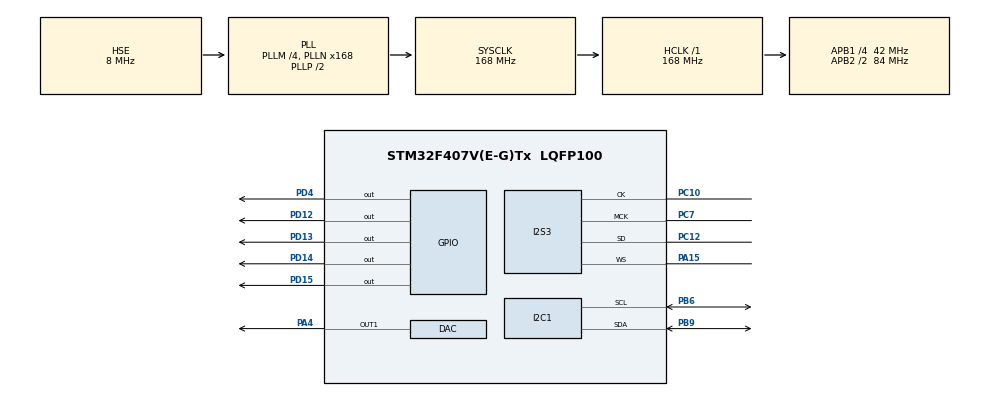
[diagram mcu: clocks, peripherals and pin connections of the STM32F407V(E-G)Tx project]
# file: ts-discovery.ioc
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Dma.Request0=SPI3_TX
Dma.SPI3_TX.0.Direction=DMA_MEMORY_TO_PERIPH
Dma.SPI3_TX.0.FIFOMode=DMA_FIFOMODE_ENABLE
Dma.SPI3_TX.0.FIFOThreshold=DMA_FIFO_THRESHOLD_FULL
Dma.SPI3_TX.0.Instance=DMA1_Stream5
Dma.SPI3_TX.0.MemBurst=DMA_MBURST_SINGLE
Dma.SPI3_TX.0.MemDataAlignment=DMA_MDATAALIGN_HALFWORD
Dma.SPI3_TX.0.MemInc=DMA_MINC_ENABLE
Dma.SPI3_TX.0.Mode=DMA_CIRCULAR
Dma.SPI3_TX.0.PeriphBurst=DMA_PBURST_SINGLE
Dma.SPI3_TX.0.PeriphDataAlignment=DMA_PDATAALIGN_HALFWORD
Dma.SPI3_TX.0.PeriphInc=DMA_PINC_DISABLE
Dma.SPI3_TX.0.Priority=DMA_PRIORITY_LOW
I2S3.AudioFreq=I2S_AUDIOFREQ_48K
I2S3.ErrorAudioFreq=1.72 %
I2S3.FullDuplexMode=I2S_FULLDUPLEXMODE_DISABLE
I2S3.Instance=SPI$Index
I2S3.RealAudioFreq=48.828 KHz
I2S3.VirtualMode=I2S_MODE_MASTER
Mcu.Family=STM32F4
Mcu.Name=STM32F407V(E-G)Tx
Mcu.Package=LQFP100
NVIC.DMA1_Stream5_IRQn=true\:0\:0\:false\:false\:true\:false\:true
NVIC.PriorityGroup=NVIC_PRIORITYGROUP_0
NVIC.TIM1_UP_TIM10_IRQn=true\:0\:0\:false\:false\:true\:false\:true
NVIC.TIM2_IRQn=true\:0\:0\:false\:false\:true\:true\:true
NVIC.TimeBase=TIM1_UP_TIM10_IRQn
NVIC.TimeBaseIP=TIM1
PA15.Mode=Half_Duplex_Master
PA15.Signal=I2S3_WS
PA4.Signal=COMP_DAC1_group
PB6.Mode=I2C
PB6.Signal=I2C1_SCL
PB9.Mode=I2C
PB9.Signal=I2C1_SDA
PC10.Mode=Half_Duplex_Master
PC10.Signal=I2S3_CK
PC12.Mode=Half_Duplex_Master
PC12.Signal=I2S3_SD
PC7.Mode=Master_Clock_Activated
PC7.Signal=I2S3_MCK
PD12.Signal=GPIO_Output
PD13.Signal=GPIO_Output
PD14.Signal=GPIO_Output
PD15.Signal=GPIO_Output
PD4.Signal=GPIO_Output
PH0-OSC_IN.Mode=HSE-External-Oscillator
PH0-OSC_IN.Signal=RCC_OSC_IN
PH1-OSC_OUT.Mode=HSE-External-Oscillator
PH1-OSC_OUT.Signal=RCC_OSC_OUT
ProjectManager.HeapSize=0x200
ProjectManager.StackSize=0x400
ProjectManager.TargetToolchain=STM32CubeIDE
RCC.48MHZClocksFreq_Value=48000000
RCC.AHBFreq_Value=168000000
RCC.APB1CLKDivider=RCC_HCLK_DIV4
RCC.APB1Freq_Value=42000000
RCC.APB1TimFreq_Value=84000000
RCC.APB2CLKDivider=RCC_HCLK_DIV2
RCC.APB2Freq_Value=84000000
RCC.APB2TimFreq_Value=168000000
RCC.CortexFreq_Value=168000000
RCC.HCLKFreq_Value=168000000
RCC.HSE_VALUE=8000000
RCC.HSI_VALUE=16000000
RCC.LSE_VALUE=32768
RCC.PLLI2SN=50
RCC.PLLM=4
RCC.PLLN=168
RCC.PLLQ=7
RCC.PLLSourceVirtual=RCC_PLLSOURCE_HSE
RCC.SYSCLKFreq_VALUE=168000000
RCC.SYSCLKSource=RCC_SYSCLKSOURCE_PLLCLK
RCC.VCOOutputFreq_Value=336000000
SH.COMP_DAC1_group.0=DAC_OUT1,DAC_OUT1
TIM2.Period=20-1
TIM2.Prescaler=84-1
VP_SYS_VS_tim1.Mode=TIM1
VP_TIM2_VS_ClockSourceINT.Mode=Internal
board=STM32F407G-DISC1

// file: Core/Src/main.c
/* USER CODE BEGIN Header */
/**
  ******************************************************************************
  * @file           : main.c
  * @brief          : Main program body
  ******************************************************************************
  * @attention
  *
  * <h2><center>&copy; Copyright (c) 2021 STMicroelectronics.
  * All rights reserved.</center></h2>
  *
  * This software component is licensed by ST under BSD 3-Clause license,
  * the "License"; You may not use this file except in compliance with the
  * License. You may obtain a copy of the License at:
  *                        opensource.org/licenses/BSD-3-Clause
  *
  ******************************************************************************
  */
/* USER CODE END Header */
#include "main.h"

/* USER CODE BEGIN Includes */
#include "CS43L22.h"
#include "math.h"
/* USER CODE END Includes */

DAC_HandleTypeDef hdac;

I2C_HandleTypeDef hi2c1;

I2S_HandleTypeDef hi2s3;
DMA_HandleTypeDef hdma_spi3_tx;

TIM_HandleTypeDef htim2;

/* USER CODE BEGIN PV */
#define PI 3.14159f

// sample rate and output freq
#define F_SAMPLE 50000.0f
#define TRI_WAVE_STEPS 9
/* USER CODE END PV */

void SystemClock_Config(void);
static void MX_GPIO_Init(void);
static void MX_DMA_Init(void);
static void MX_DAC_Init(void);
static void MX_I2C1_Init(void);
static void MX_I2S3_Init(void);
static void MX_TIM2_Init(void);

/* USER CODE BEGIN 0 */
float frequency_out = 0.0f;
float wave_val;
uint32_t wave_index;
float sample_dt;
uint16_t sample_N;
uint16_t i_t;

uint32_t dacValue;
int16_t I2S_dummy[4];
float tri_wave[TRI_WAVE_STEPS] = { 0.0f, 0.125f, 0.25f, 0.375f, 0.5f, 0.625f, 0.75f, 0.875f, 1.0f };
float ticks_per_step;
/* USER CODE END 0 */

int main(void)
{
  /* USER CODE BEGIN 1 */
  frequency_out = 440.0f;
  sample_dt = frequency_out / F_SAMPLE;
  sample_N = F_SAMPLE / frequency_out;
  ticks_per_step = sample_N / (float) TRI_WAVE_STEPS;
  /* USER CODE END 1 */

  /* MCU Configuration--------------------------------------------------------*/

  /* Reset of all peripherals, Initializes the Flash interface and the Systick. */
  HAL_Init();

  /* Configure the system clock */
  SystemClock_Config();

  /* Initialize all configured peripherals */
  MX_GPIO_Init();
  MX_DMA_Init();
  MX_DAC_Init();
  MX_I2C1_Init();
  MX_I2S3_Init();
  MX_TIM2_Init();
  /* USER CODE BEGIN 2 */
  CS43_Init(hi2c1, CS43_MODE_ANALOG);
  CS43_SetVolume(15);
  CS43_Enable_RightLeft(CS43_RIGHT_LEFT);
  CS43_Start();

  HAL_I2S_Transmit_DMA(&hi2s3, (uint16_t *)I2S_dummy, 4);

  // Start DAC
  HAL_DAC_Start(&hdac, DAC_CHANNEL_1);

  // Start TIM2
  HAL_TIM_Base_Start_IT(&htim2);
  /* USER CODE END 2 */

  /* Infinite loop */
  while (1)
  {

  }
}

void SystemClock_Config(void)
{
  RCC_OscInitTypeDef RCC_OscInitStruct = {0};
  RCC_ClkInitTypeDef RCC_ClkInitStruct = {0};

  /** Configure the main internal regulator output voltage
  */
  __HAL_RCC_PWR_CLK_ENABLE();
  __HAL_PWR_VOLTAGESCALING_CONFIG(PWR_REGULATOR_VOLTAGE_SCALE1);
  /** Initializes the RCC Oscillators according to the specified parameters
  * in the RCC_OscInitTypeDef structure.
  */
  RCC_OscInitStruct.OscillatorType = RCC_OSCILLATORTYPE_HSE;
  RCC_OscInitStruct.HSEState = RCC_HSE_ON;
  RCC_OscInitStruct.PLL.PLLState = RCC_PLL_ON;
  RCC_OscInitStruct.PLL.PLLSource = RCC_PLLSOURCE_HSE;
  RCC_OscInitStruct.PLL.PLLM = 4;
  RCC_OscInitStruct.PLL.PLLN = 168;
  RCC_OscInitStruct.PLL.PLLP = RCC_PLLP_DIV2;
  RCC_OscInitStruct.PLL.PLLQ = 7;
  if (HAL_RCC_OscConfig(&RCC_OscInitStruct) != HAL_OK)
  {
    Error_Handler();
  }
  /** Initializes the CPU, AHB and APB buses clocks
  */
  RCC_ClkInitStruct.ClockType = RCC_CLOCKTYPE_HCLK|RCC_CLOCKTYPE_SYSCLK
                              |RCC_CLOCKTYPE_PCLK1|RCC_CLOCKTYPE_PCLK2;
  RCC_ClkInitStruct.SYSCLKSource = RCC_SYSCLKSOURCE_PLLCLK;
  RCC_ClkInitStruct.AHBCLKDivider = RCC_SYSCLK_DIV1;
  RCC_ClkInitStruct.APB1CLKDivider = RCC_HCLK_DIV4;
  RCC_ClkInitStruct.APB2CLKDivider = RCC_HCLK_DIV2;

  if (HAL_RCC_ClockConfig(&RCC_ClkInitStruct, FLASH_LATENCY_5) != HAL_OK)
  {
    Error_Handler();
  }
}

static void MX_DAC_Init(void)
{

  DAC_ChannelConfTypeDef sConfig = {0};

  /** DAC Initialization
  */
  hdac.Instance = DAC;
  if (HAL_DAC_Init(&hdac) != HAL_OK)
  {
    Error_Handler();
  }
  /** DAC channel OUT1 config
  */
  sConfig.DAC_Trigger = DAC_TRIGGER_NONE;
  sConfig.DAC_OutputBuffer = DAC_OUTPUTBUFFER_ENABLE;
  if (HAL_DAC_ConfigChannel(&hdac, &sConfig, DAC_CHANNEL_1) != HAL_OK)
  {
    Error_Handler();
  }

}

static void MX_I2C1_Init(void)
{

  hi2c1.Instance = I2C1;
  hi2c1.Init.ClockSpeed = 100000;
  hi2c1.Init.DutyCycle = I2C_DUTYCYCLE_2;
  hi2c1.Init.OwnAddress1 = 0;
  hi2c1.Init.AddressingMode = I2C_ADDRESSINGMODE_7BIT;
  hi2c1.Init.DualAddressMode = I2C_DUALADDRESS_DISABLE;
  hi2c1.Init.OwnAddress2 = 0;
  hi2c1.Init.GeneralCallMode = I2C_GENERALCALL_DISABLE;
  hi2c1.Init.NoStretchMode = I2C_NOSTRETCH_DISABLE;
  if (HAL_I2C_Init(&hi2c1) != HAL_OK)
  {
    Error_Handler();
  }

}

static void MX_I2S3_Init(void)
{

  hi2s3.Instance = SPI3;
  hi2s3.Init.Mode = I2S_MODE_MASTER_TX;
  hi2s3.Init.Standard = I2S_STANDARD_PHILIPS;
  hi2s3.Init.DataFormat = I2S_DATAFORMAT_16B;
  hi2s3.Init.MCLKOutput = I2S_MCLKOUTPUT_ENABLE;
  hi2s3.Init.AudioFreq = I2S_AUDIOFREQ_48K;
  hi2s3.Init.CPOL = I2S_CPOL_LOW;
  hi2s3.Init.ClockSource = I2S_CLOCK_PLL;
  hi2s3.Init.FullDuplexMode = I2S_FULLDUPLEXMODE_DISABLE;
  if (HAL_I2S_Init(&hi2s3) != HAL_OK)
  {
    Error_Handler();
  }

}

static void MX_TIM2_Init(void)
{

  TIM_ClockConfigTypeDef sClockSourceConfig = {0};
  TIM_MasterConfigTypeDef sMasterConfig = {0};

  htim2.Instance = TIM2;
  htim2.Init.Prescaler = 84-1;
  htim2.Init.CounterMode = TIM_COUNTERMODE_UP;
  htim2.Init.Period = 20-1;
  htim2.Init.ClockDivision = TIM_CLOCKDIVISION_DIV1;
  htim2.Init.AutoReloadPreload = TIM_AUTORELOAD_PRELOAD_DISABLE;
  if (HAL_TIM_Base_Init(&htim2) != HAL_OK)
  {
    Error_Handler();
  }
  sClockSourceConfig.ClockSource = TIM_CLOCKSOURCE_INTERNAL;
  if (HAL_TIM_ConfigClockSource(&htim2, &sClockSourceConfig) != HAL_OK)
  {
    Error_Handler();
  }
  sMasterConfig.MasterOutputTrigger = TIM_TRGO_RESET;
  sMasterConfig.MasterSlaveMode = TIM_MASTERSLAVEMODE_DISABLE;
  if (HAL_TIMEx_MasterConfigSynchronization(&htim2, &sMasterConfig) != HAL_OK)
  {
    Error_Handler();
  }

}

static void MX_DMA_Init(void)
{

  /* DMA controller clock enable */
  __HAL_RCC_DMA1_CLK_ENABLE();

  /* DMA interrupt init */
  /* DMA1_Stream5_IRQn interrupt configuration */
  HAL_NVIC_SetPriority(DMA1_Stream5_IRQn, 0, 0);
  HAL_NVIC_EnableIRQ(DMA1_Stream5_IRQn);

}

static void MX_GPIO_Init(void)
{
  GPIO_InitTypeDef GPIO_InitStruct = {0};

  /* GPIO Ports Clock Enable */
  __HAL_RCC_GPIOH_CLK_ENABLE();
  __HAL_RCC_GPIOA_CLK_ENABLE();
  __HAL_RCC_GPIOD_CLK_ENABLE();
  __HAL_RCC_GPIOC_CLK_ENABLE();
  __HAL_RCC_GPIOB_CLK_ENABLE();

  /*Configure GPIO pin Output Level */
  HAL_GPIO_WritePin(GPIOD, GPIO_PIN_12|GPIO_PIN_13|GPIO_PIN_14|GPIO_PIN_15
                          |GPIO_PIN_4, GPIO_PIN_RESET);

  /*Configure GPIO pins : PD12 PD13 PD14 PD15
                           PD4 */
  GPIO_InitStruct.Pin = GPIO_PIN_12|GPIO_PIN_13|GPIO_PIN_14|GPIO_PIN_15
                          |GPIO_PIN_4;
  GPIO_InitStruct.Mode = GPIO_MODE_OUTPUT_PP;
  GPIO_InitStruct.Pull = GPIO_NOPULL;
  GPIO_InitStruct.Speed = GPIO_SPEED_FREQ_LOW;
  HAL_GPIO_Init(GPIOD, &GPIO_InitStruct);

}

void HAL_TIM_PeriodElapsedCallback(TIM_HandleTypeDef *htim)
{
  if (htim->Instance == TIM1) {
    HAL_IncTick();
  }
  /* USER CODE BEGIN Callback 1 */
  if (htim->Instance == TIM2)
    {
      wave_index = i_t / ticks_per_step; // using integer division
      wave_val = tri_wave[wave_index];
  	  dacValue = (wave_val) * 255;
  	  // Output to DAC
  	  HAL_DAC_SetValue(&hdac, DAC_CHANNEL_1, DAC_ALIGN_8B_R, dacValue);
  	  i_t++;
  	  if (i_t >= sample_N) i_t = 0;
    }
  /* USER CODE END Callback 1 */
}

void Error_Handler(void)
{
  __disable_irq();
  while (1)
  {
  }
}
